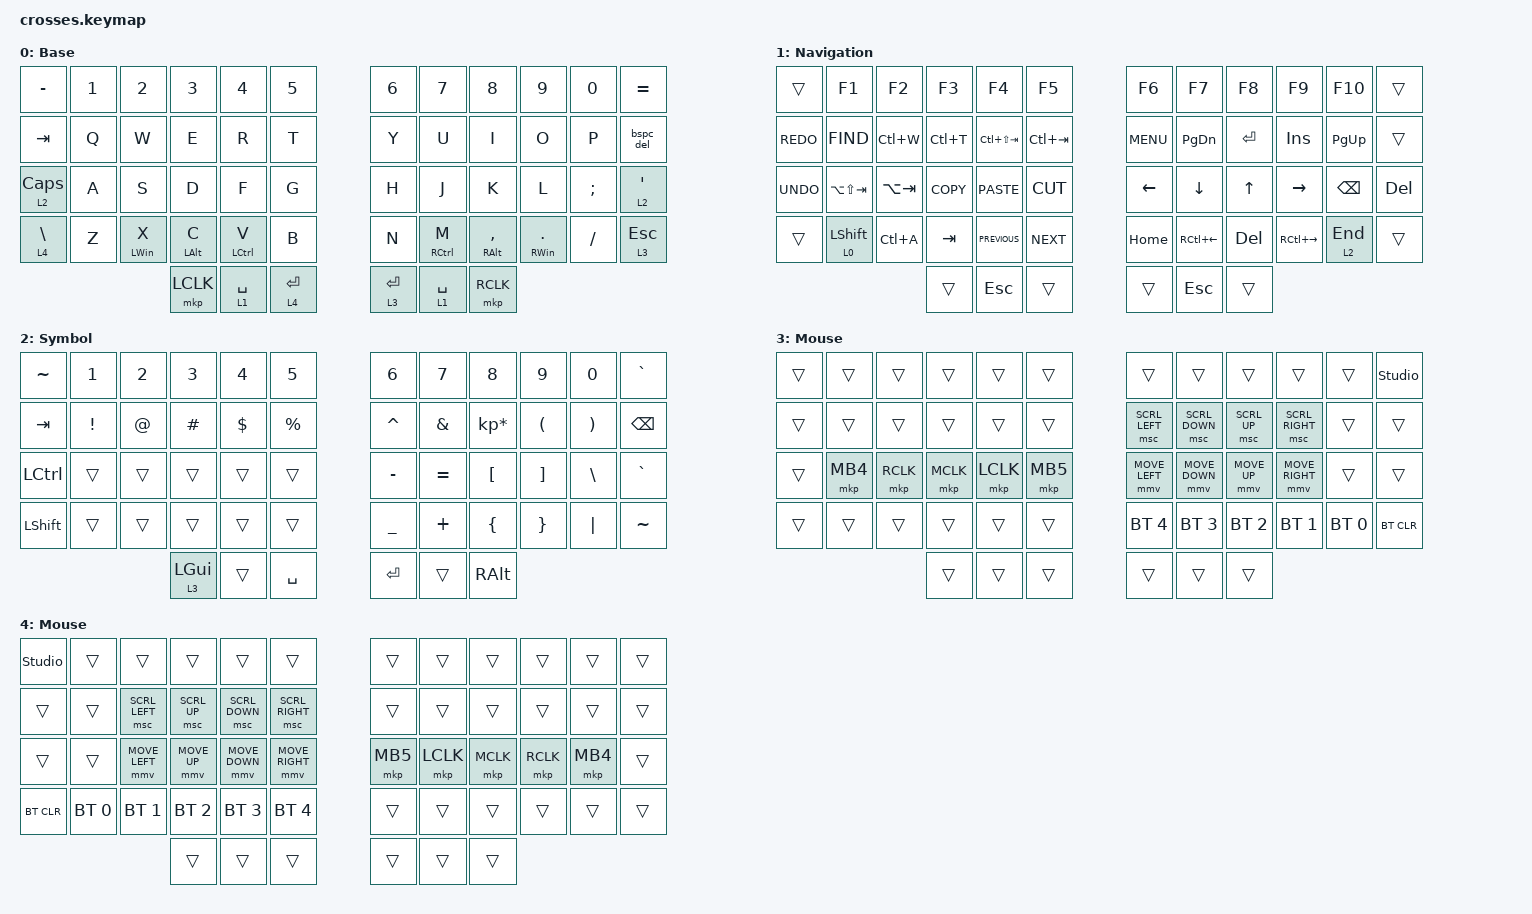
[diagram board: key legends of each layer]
#include <behaviors.dtsi>
#include <dt-bindings/zmk/bt.h>
#include <dt-bindings/zmk/keys.h>
#include <dt-bindings/zmk/pointing.h>

/ {
    behaviors {
        // Define the behavior

        bspc_del: backspace_delete {
            compatible = "zmk,behavior-mod-morph";
            label = "BACKSPACE_DELETE";
            #binding-cells = <0>;

            // Normal binding, Modified binding

            bindings = <&kp BACKSPACE>, <&kp DELETE>;

            // Modifiers that trigger the morph

            mods = <(MOD_LSFT|MOD_RSFT)>;

            // (Optional) Remove shift if you want only DELETE, not SHIFT+DELETE
            // masked_mods = <(MOD_LSFT|MOD_RSFT)>;
        };
    };

    keymap {
        compatible = "zmk,keymap";

        default_layer {
            bindings = <
                // Use the custom behavior in your keymap
                &bspc_del
            >;
        };
    };
};

/ {
    chosen { zmk,physical-layout = &gggw_crosses_54_layout; };

    keymap {
        compatible = "zmk,keymap";

        default_layer {
            display-name = "Base";
            bindings = <
&kp MINUS        &kp N1  &kp N2          &kp N3          &kp N4       &kp N5        &kp N6     &kp N7       &kp N8               &kp N9        &kp N0    &kp EQUAL
&kp TAB          &kp Q   &kp W           &kp E           &kp R        &kp T         &kp Y      &kp U        &kp I                &kp O         &kp P     &bspc_del
&lt 2 CAPSLOCK   &kp A   &kp S           &kp D           &kp F        &kp G         &kp H      &kp J        &kp K                &kp L         &kp SEMI  &lt 2 APOSTROPHE
&lt 4 BACKSLASH  &kp Z   &mt LEFT_WIN X  &mt LEFT_ALT C  &mt LCTRL V  &kp B         &kp N      &mt RCTRL M  &mt RIGHT_ALT COMMA  &mt RWIN DOT  &kp FSLH  &lt 3 ESC
                                         &mkp LCLK       &lt 1 SPACE  &lt 4 RETURN  &lt 3 RET  &lt 1 SPACE  &mkp RCLK
            >;
        };

        navigation_layer {
            display-name = "Navigation";
            bindings = <
&trans      &kp F1            &kp F2       &kp F3      &kp F4           &kp F5       &kp F6      &kp F7              &kp F8     &kp F9               &kp F10        &trans
&kp K_REDO  &kp K_FIND        &kp LC(W)    &kp LC(T)   &kp LC(LS(TAB))  &kp LC(TAB)  &kp C_MENU  &kp PAGE_DOWN       &kp ENTER  &kp INS              &kp PAGE_UP    &trans
&kp K_UNDO  &kp LA(LS(TAB))   &kp LA(TAB)  &kp K_COPY  &kp K_PASTE      &kp K_CUT    &kp LEFT    &kp DOWN            &kp UP     &kp RIGHT            &kp BACKSPACE  &kp DEL
&trans      &lt 0 LEFT_SHIFT  &kp LC(A)    &kp TAB     &kp K_PREVIOUS   &kp K_NEXT   &kp HOME    &kp RC(LEFT_ARROW)  &kp DEL    &kp RC(RIGHT_ARROW)  &lt 2 END      &trans
                                           &trans      &kp ESCAPE       &trans       &trans      &kp ESCAPE          &trans
            >;
        };

        symbolnum_layer {
            display-name = "Symbol";
            bindings = <
&kp TILDE  &kp N1    &kp N2  &kp N3      &kp N4    &kp N5     &kp N6     &kp N7     &kp N8           &kp N9    &kp N0    &kp GRAVE
&kp TAB    &kp EXCL  &kp AT  &kp HASH    &kp DLLR  &kp PRCNT  &kp CARET  &kp AMPS   &kp KP_MULTIPLY  &kp LPAR  &kp RPAR  &kp BSPC
&kp LCTRL  &trans    &trans  &trans      &trans    &trans     &kp MINUS  &kp EQUAL  &kp LBKT         &kp RBKT  &kp BSLH  &kp GRAVE
&kp LSHFT  &trans    &trans  &trans      &trans    &trans     &kp UNDER  &kp PLUS   &kp LBRC         &kp RBRC  &kp PIPE  &kp TILDE
                             &lt 3 LGUI  &trans    &kp SPACE  &kp RET    &trans     &kp RALT
            >;
        };

        mouse_right_layer {
            display-name = "Mouse";
            bindings = <
&trans  &trans    &trans     &trans     &trans     &trans    &trans          &trans          &trans        &trans           &trans        &studio_unlock
&trans  &trans    &trans     &trans     &trans     &trans    &msc SCRL_LEFT  &msc SCRL_DOWN  &msc SCRL_UP  &msc SCRL_RIGHT  &trans        &trans
&trans  &mkp MB4  &mkp RCLK  &mkp MCLK  &mkp LCLK  &mkp MB5  &mmv MOVE_LEFT  &mmv MOVE_DOWN  &mmv MOVE_UP  &mmv MOVE_RIGHT  &trans        &trans
&trans  &trans    &trans     &trans     &trans     &trans    &bt BT_SEL 4    &bt BT_SEL 3    &bt BT_SEL 2  &bt BT_SEL 1     &bt BT_SEL 0  &bt BT_CLR
                             &trans     &trans     &trans    &trans          &trans          &trans
            >;
        };

        mouse_left_layer {
            display-name = "Mouse";
            bindings = <
&studio_unlock  &trans        &trans          &trans        &trans          &trans           &trans    &trans     &trans     &trans     &trans    &trans
&trans          &trans        &msc SCRL_LEFT  &msc SCRL_UP  &msc SCRL_DOWN  &msc SCRL_RIGHT  &trans    &trans     &trans     &trans     &trans    &trans
&trans          &trans        &mmv MOVE_LEFT  &mmv MOVE_UP  &mmv MOVE_DOWN  &mmv MOVE_RIGHT  &mkp MB5  &mkp LCLK  &mkp MCLK  &mkp RCLK  &mkp MB4  &trans
&bt BT_CLR      &bt BT_SEL 0  &bt BT_SEL 1    &bt BT_SEL 2  &bt BT_SEL 3    &bt BT_SEL 4     &trans    &trans     &trans     &trans     &trans    &trans
                                              &trans        &trans          &trans           &trans    &trans     &trans
            >;
        };
    };
};
